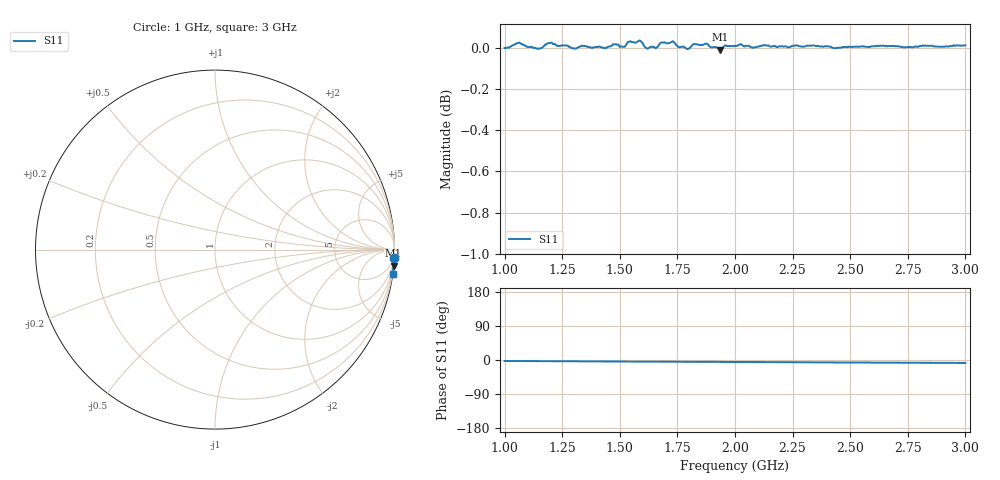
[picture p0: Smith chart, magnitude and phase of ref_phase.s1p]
!  02.03.2026  10:47:04
! Ref Plane: 0,000 mm
# MHZ S MA R  50
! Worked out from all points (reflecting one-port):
!   401 points, 1 GHz to 3 GHz, reference 50 ohm
!   lowest |S11| = 0.0 dB at 1.935 GHz (marker M1)
!   phase of S11 starts at -3 deg and turns -5 deg over the sweep
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1000  1 -2.6
1030  1.001 -2.8
1060  1.003 -2.8
1105  1.001 -2.8
1145  0.9996 -3.0
1195  1.003 -3.2
1250  1.002 -3.3
1315  1 -3.6
1485  1.002 -3.9
1500  1.001 -4.0
1510  1.001 -4.1
1585  1.004 -4.1
1620  0.9996 -4.1
1650  1 -4.5
1685  1.003 -4.5
1750  1.001 -4.5
1790  0.9997 -4.8
1870  1.002 -4.9
1905  1 -4.9
1935  0.9992 -5.1
2000  1.001 -5.2
2250  1.001 -5.9
2365  1.001 -6.3
2410  1.001 -6.2
2500  1.001 -6.5
2750  1.001 -7.1
2805  1.001 -7.4
3000  1.001 -7.7
